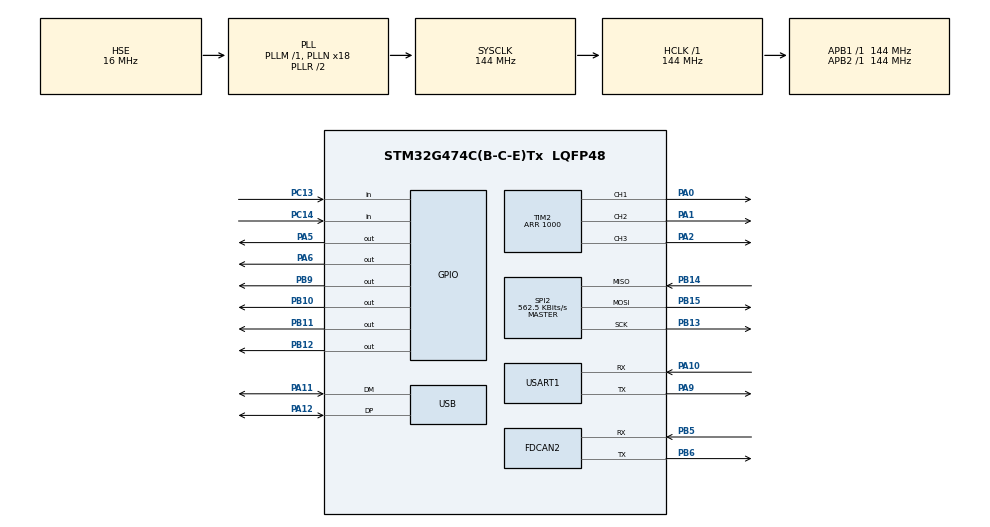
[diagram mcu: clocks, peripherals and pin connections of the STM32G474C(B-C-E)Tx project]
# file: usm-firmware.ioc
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FDCAN2.CalculateBaudRateNominal=1000000
FDCAN2.CalculateTimeBitNominal=1000
FDCAN2.CalculateTimeQuantumNominal=250.0
FDCAN2.Mode=FDCAN_MODE_NORMAL
FDCAN2.NominalPrescaler=12
FDCAN2.NominalTimeSeg1=2
FREERTOS.Tasks01=defaultTask,24,128,StartDefaultTask,Default,NULL,Dynamic,NULL,NULL
FREERTOS.configTOTAL_HEAP_SIZE=32768
Mcu.Family=STM32G4
Mcu.Name=STM32G474C(B-C-E)Tx
Mcu.Package=LQFP48
NVIC.PriorityGroup=NVIC_PRIORITYGROUP_4
NVIC.TIM20_UP_IRQn=true\:15\:0\:false\:false\:true\:false\:false\:true\:true
NVIC.TimeBase=TIM20_UP_IRQn
NVIC.TimeBaseIP=TIM20
NVIC.USB_LP_IRQn=true\:5\:0\:false\:false\:true\:true\:false\:true\:true
PA0.Signal=S_TIM2_CH1
PA1.Signal=S_TIM2_CH2
PA10.Mode=Asynchronous
PA10.Signal=USART1_RX
PA11.Mode=Device
PA11.Signal=USB_DM
PA12.Mode=Device
PA12.Signal=USB_DP
PA13.Mode=Trace_Asynchronous_SW
PA13.Signal=SYS_JTMS-SWDIO
PA14.Mode=Trace_Asynchronous_SW
PA14.Signal=SYS_JTCK-SWCLK
PA2.Signal=S_TIM2_CH3
PA5.Signal=GPIO_Output
PA6.Signal=GPIO_Output
PA9.Mode=Asynchronous
PA9.Signal=USART1_TX
PB10.Signal=GPIO_Output
PB11.Signal=GPIO_Output
PB12.Signal=GPIO_Output
PB13.Mode=Full_Duplex_Master
PB13.Signal=SPI2_SCK
PB14.Mode=Full_Duplex_Master
PB14.Signal=SPI2_MISO
PB15.Mode=Full_Duplex_Master
PB15.Signal=SPI2_MOSI
PB3.Mode=Trace_Asynchronous_SW
PB3.Signal=SYS_JTDO-SWO
PB5.Mode=FDCAN_Activate
PB5.Signal=FDCAN2_RX
PB6.Mode=FDCAN_Activate
PB6.Signal=FDCAN2_TX
PB9.Signal=GPIO_Output
PC13.Signal=GPIO_Input
PC14-OSC32_IN.Signal=GPIO_Input
PF0-OSC_IN.Mode=HSE-External-Oscillator
PF0-OSC_IN.Signal=RCC_OSC_IN
PF1-OSC_OUT.Mode=HSE-External-Oscillator
PF1-OSC_OUT.Signal=RCC_OSC_OUT
ProjectManager.HeapSize=0x200
ProjectManager.StackSize=0x400
ProjectManager.TargetToolchain=Makefile
RCC.ADC12Freq_Value=144000000
RCC.ADC345Freq_Value=144000000
RCC.AHBFreq_Value=144000000
RCC.APB1Freq_Value=144000000
RCC.APB1TimFreq_Value=144000000
RCC.APB2Freq_Value=144000000
RCC.APB2TimFreq_Value=144000000
RCC.CortexFreq_Value=144000000
RCC.EXTERNAL_CLOCK_VALUE=12288000
RCC.FDCANCLockSelection=RCC_FDCANCLKSOURCE_PLL
RCC.HCLKFreq_Value=144000000
RCC.HSE_VALUE=16000000
RCC.HSI48_VALUE=48000000
RCC.HSI_VALUE=16000000
RCC.LSE_VALUE=32768
RCC.PLLN=18
RCC.PLLQ=RCC_PLLQ_DIV6
RCC.SYSCLKFreq_VALUE=144000000
RCC.SYSCLKSource=RCC_SYSCLKSOURCE_PLLCLK
RCC.USBFreq_Value=48000000
RCC.VCOOutputFreq_Value=288000000
SH.S_TIM2_CH1.0=TIM2_CH1,PWM Generation1 CH1
SH.S_TIM2_CH2.0=TIM2_CH2,PWM Generation2 CH2
SH.S_TIM2_CH3.0=TIM2_CH3,PWM Generation3 CH3
SPI2.BaudRatePrescaler=SPI_BAUDRATEPRESCALER_256
SPI2.CalculateBaudRate=562.5 KBits/s
SPI2.DataSize=SPI_DATASIZE_8BIT
SPI2.Direction=SPI_DIRECTION_2LINES
SPI2.Mode=SPI_MODE_MASTER
SPI2.VirtualType=VM_MASTER
TIM2.Channel-PWM\ Generation1\ CH1=TIM_CHANNEL_1
TIM2.Channel-PWM\ Generation2\ CH2=TIM_CHANNEL_2
TIM2.Channel-PWM\ Generation3\ CH3=TIM_CHANNEL_3
TIM2.OCFastMode_PWM-PWM\ Generation1\ CH1=TIM_OCFAST_ENABLE
TIM2.OCFastMode_PWM-PWM\ Generation2\ CH2=TIM_OCFAST_ENABLE
TIM2.OCFastMode_PWM-PWM\ Generation3\ CH3=TIM_OCFAST_ENABLE
TIM2.OCPolarity_1=TIM_OCPOLARITY_LOW
TIM2.OCPolarity_2=TIM_OCPOLARITY_LOW
TIM2.OCPolarity_3=TIM_OCPOLARITY_LOW
TIM2.PeriodNoDither=1000
USART1.VirtualMode-Asynchronous=VM_ASYNC
USB_DEVICE.CLASS_NAME_FS=CDC
USB_DEVICE.VirtualMode=Cdc
USB_DEVICE.VirtualModeFS=Cdc_FS
VP_FREERTOS_VS_CMSIS_V2.Mode=CMSIS_V2
VP_SYS_VS_DBSignals.Mode=DisableDeadBatterySignals
VP_SYS_VS_tim20.Mode=TIM20
VP_USB_DEVICE_VS_USB_DEVICE_CDC_FS.Mode=CDC_FS
board=custom
SPI2.CLKPolarity=SPI_POLARITY_HIGH
SPI2.CLKPhase=SPI_PHASE_2EDGE
FDCAN2.StdFiltersNbr=4
NVIC.FDCAN2_IT0_IRQn=true\:5\:0\:false\:false\:true\:true\:true\:true\:true

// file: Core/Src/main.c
/* USER CODE BEGIN Header */
/**
 ******************************************************************************
 * @file           : main.c
 * @brief          : Main program body
 ******************************************************************************
 * @attention
 *
 * Copyright (c) 2025 STMicroelectronics.
 * All rights reserved.
 *
 * This software is licensed under terms that can be found in the LICENSE file
 * in the root directory of this software component.
 * If no LICENSE file comes with this software, it is provided AS-IS.
 *
 ******************************************************************************
 */
/* USER CODE END Header */
#include "main.h"
#include "cmsis_os.h"
#include "fdcan.h"
#include "gpio.h"
#include "spi.h"
#include "tim.h"
#include "usart.h"
#include "usb_device.h"

/* USER CODE BEGIN Includes */
#include "imu.h"
#include "longhorn/rtos/led.h"
#include "longhorn/rtos/logger.h"
#include "usbd_cdc_if.h"
#include "usm_can.h"
#include "wheel_speed.h"
#include <stdio.h>

/* USER CODE END Includes */

void SystemClock_Config(void);
void MX_FREERTOS_Init(void);

int main(void) {

  /* MCU Configuration--------------------------------------------------------*/

  /* Reset of all peripherals, Initializes the Flash interface and the Systick.
   */
  HAL_Init();

  /* Configure the system clock */
  SystemClock_Config();

  /* Initialize all configured peripherals */
  MX_GPIO_Init();
  MX_FDCAN2_Init();
  MX_SPI2_Init();
  MX_TIM2_Init();
  MX_USART1_UART_Init();

  /* Init scheduler */
  osKernelInitialize(); /* Call init function for freertos objects (in
                           cmsis_os2.c) */
  MX_FREERTOS_Init();

  /* Start scheduler */
  osKernelStart();

  /* We should never get here as control is now taken by the scheduler */

  /* Infinite loop */
  while (1) {

  }
}

void SystemClock_Config(void) {
  RCC_OscInitTypeDef RCC_OscInitStruct = {0};
  RCC_ClkInitTypeDef RCC_ClkInitStruct = {0};

  /** Configure the main internal regulator output voltage
   */
  HAL_PWREx_ControlVoltageScaling(PWR_REGULATOR_VOLTAGE_SCALE1);

  /** Initializes the RCC Oscillators according to the specified parameters
   * in the RCC_OscInitTypeDef structure.
   */
  RCC_OscInitStruct.OscillatorType = RCC_OSCILLATORTYPE_HSE;
  RCC_OscInitStruct.HSEState = RCC_HSE_ON;
  RCC_OscInitStruct.PLL.PLLState = RCC_PLL_ON;
  RCC_OscInitStruct.PLL.PLLSource = RCC_PLLSOURCE_HSE;
  RCC_OscInitStruct.PLL.PLLM = RCC_PLLM_DIV1;
  RCC_OscInitStruct.PLL.PLLN = 18;
  RCC_OscInitStruct.PLL.PLLP = RCC_PLLP_DIV2;
  RCC_OscInitStruct.PLL.PLLQ = RCC_PLLQ_DIV6;
  RCC_OscInitStruct.PLL.PLLR = RCC_PLLR_DIV2;
  if (HAL_RCC_OscConfig(&RCC_OscInitStruct) != HAL_OK) {
    Error_Handler();
  }

  /** Initializes the CPU, AHB and APB buses clocks
   */
  RCC_ClkInitStruct.ClockType = RCC_CLOCKTYPE_HCLK | RCC_CLOCKTYPE_SYSCLK |
                                RCC_CLOCKTYPE_PCLK1 | RCC_CLOCKTYPE_PCLK2;
  RCC_ClkInitStruct.SYSCLKSource = RCC_SYSCLKSOURCE_PLLCLK;
  RCC_ClkInitStruct.AHBCLKDivider = RCC_SYSCLK_DIV1;
  RCC_ClkInitStruct.APB1CLKDivider = RCC_HCLK_DIV1;
  RCC_ClkInitStruct.APB2CLKDivider = RCC_HCLK_DIV1;

  if (HAL_RCC_ClockConfig(&RCC_ClkInitStruct, FLASH_LATENCY_4) != HAL_OK) {
    Error_Handler();
  }
}

void HAL_TIM_PeriodElapsedCallback(TIM_HandleTypeDef *htim) {
  if (htim->Instance == TIM20) {
    HAL_IncTick();
  }
}

void Error_Handler(void) {
  /* USER CODE BEGIN Error_Handler_Debug */
  /* User can add his own implementation to report the HAL error return state
   */
  __disable_irq();
  while (1) {
    // HAL_TIM_PWM_DeInit(&htim2);
    // HAL_GPIO_TogglePin(GPIOA, GPIO_PIN_0);
  }
  /* USER CODE END Error_Handler_Debug */
}
#ifdef USE_FULL_ASSERT
/**
 * @brief  Reports the name of the source file and the source line number
 *         where the assert_param error has occurred.
 * @param  file: pointer to the source file name
 * @param  line: assert_param error line source number
 * @retval None
 */
void assert_failed(uint8_t *file, uint32_t line) {
  /* USER CODE BEGIN 6 */
  /* User can add his own implementation to report the file name and line
     number, ex: printf("Wrong parameters value: file %s on line %d\r\n",
     file, line) */
  /* USER CODE END 6 */
}
#endif /* USE_FULL_ASSERT */

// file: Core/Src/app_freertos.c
/* USER CODE BEGIN Header */
/**
 ******************************************************************************
 * File Name          : app_freertos.c
 * Description        : Code for freertos applications
 ******************************************************************************
 * @attention
 *
 * Copyright (c) 2025 STMicroelectronics.
 * All rights reserved.
 *
 * This software is licensed under terms that can be found in the LICENSE file
 * in the root directory of this software component.
 * If no LICENSE file comes with this software, it is provided AS-IS.
 *
 ******************************************************************************
 */
/* USER CODE END Header */

#include "FreeRTOS.h"
#include "cmsis_os.h"
#include "main.h"
#include "task.h"

#include "usb_device.h"

/* USER CODE BEGIN Includes */
#include "tim.h"
#include "usbd_cdc_if.h"

#include "longhorn/rtos/dfu.h"
#include "longhorn/rtos/led.h"
#include "longhorn/rtos/logger.h"
#include "longhorn/rtos/usb.h"
#include "longhorn/usb_base.h"
#include "ota/ota_flash.h"

#include "imu.h"
#include "spi.h"
#include "usm_can.h"
#include "wheel_speed.h"
#include <math.h>
#include <string.h>

/* USER CODE END Includes */

/* USER CODE BEGIN PD */
/* Alternate speed/IMU and Hall diagnostics: each row appears at 10 Hz. */
#define USM_DEBUG_SLOT_MS 50u

/* USER CODE END PD */

/* USER CODE BEGIN Variables */
extern USBD_HandleTypeDef hUsbDeviceFS;
static dfu_config dfu_conf = {
    .delay_fn = (Delay_fn)osDelay,
    .gpiox = GPIOB,
    .pin = GPIO_PIN_9,
    .pin_set_fn = (PinSet_fn)HAL_GPIO_WritePin,
    .reset_fn = (SystemReset_fn)HAL_NVIC_SystemReset,
    .set_bank1_fn = (SetBank1_fn)ota_set_bank1,
};

static rainbow_led_t led_conf = {
    .ccr2 = &TIM2->CCR1,
    .ccr1 = &TIM2->CCR2,
    .ccr3 = &TIM2->CCR3,
    .channel1 = TIM_CHANNEL_1,
    .channel2 = TIM_CHANNEL_2,
    .channel3 = TIM_CHANNEL_3,
    .pwm_start = (HAL_PWM_Start_Fn)HAL_TIM_PWM_Start,
    .timer_handle = &htim2,
};

osThreadId_t wheelSpeedTaskHandle;
const osThreadAttr_t wheelSpeedTask_attributes = {
    .name = "wheelSpeedTask",
    .priority = (osPriority_t)osPriorityNormal,
    .stack_size = 512 * 8};
/* USER CODE END Variables */
/* Definitions for defaultTask */
osThreadId_t defaultTaskHandle;
const osThreadAttr_t defaultTask_attributes = {
    .name = "defaultTask",
    .priority = (osPriority_t)osPriorityNormal,
    .stack_size = 512 * 4};

/* USER CODE BEGIN FunctionPrototypes */
osThreadId_t ledHandle;

static uint8_t USM_DebugTransmit(uint8_t *data, uint16_t length);
void StartWheelSpeedTask(void *argument);
/* USER CODE END FunctionPrototypes */

void StartDefaultTask(void *argument);

void MX_FREERTOS_Init(void); /* (MISRA C 2004 rule 8.1) */

void MX_FREERTOS_Init(void) {

  /* Create the thread(s) */
  /* creation of defaultTask */
  defaultTaskHandle =
      osThreadNew(StartDefaultTask, NULL, &defaultTask_attributes);

  /* USER CODE BEGIN RTOS_THREADS */
  /* add threads, ... */
  led_init(&led_conf);
  ledHandle = led_start_thread();

  wheelSpeedTaskHandle =
      osThreadNew(StartWheelSpeedTask, NULL, &wheelSpeedTask_attributes);
  /* USER CODE END RTOS_THREADS */

}

void StartDefaultTask(void *argument) {
  /* init code for USB_Device */
  MX_USB_Device_Init();
  /* USER CODE BEGIN StartDefaultTask */
  if (init_logging(USM_DebugTransmit) == -1) {
    osThreadTerminate(ledHandle);
  }

  init_dfu(dfu_conf);
  dfu_start_thread();

  usm_can_init();

  /* Infinite loop */
  for (;;) {
    usm_can_debug();
    osDelay(1000);
  }
  /* USER CODE END StartDefaultTask */
}

/* USER CODE BEGIN Application */
/* USB retains the transmit pointer until completion. Keep a private copy so
 * another queued log cannot overwrite a transfer already in flight. Called
 * only by the logger task; disconnected/busy USB drops logs without waiting. */
static uint8_t USM_DebugTransmit(uint8_t *data, uint16_t length) {
  static uint8_t tx_buffer[256];
  USBD_CDC_HandleTypeDef *cdc = hUsbDeviceFS.pClassData;
  if (hUsbDeviceFS.dev_state != USBD_STATE_CONFIGURED || cdc == NULL)
    return USBD_FAIL;
  if (cdc->TxState != 0u) return USBD_BUSY;
  if (length > sizeof(tx_buffer)) return USBD_FAIL;
  memcpy(tx_buffer, data, length);
  return CDC_Transmit_FS(tx_buffer, length);
}

void StartWheelSpeedTask(void *argument) {
  osDelay(2000); // wait for USB CDC to enumerate
  WheelSpeed_Init(&hspi2);
  int imu_status = IMU_Init(&hspi2);
  imu_data_t imu = {0};
  uint32_t next_tick = osKernelGetTickCount();
  uint32_t last_debug_tick = next_tick;
  const uint32_t debug_ticks =
      (osKernelGetTickFreq() * USM_DEBUG_SLOT_MS + 999u) / 1000u;
  bool hall_debug_row = false;
  for (;;) {
    WheelSpeed_Update();

    float speed = WheelSpeed_GetSpeed();
    usm_can_update_wheel_speed(speed);
    usm_can_update_phase(WheelSpeed_GetPhaseEstimate(), WheelSpeed_GetPhaseSequence());

    int imu_read_status = imu_status == IMU_OK ? IMU_Read(&imu) : imu_status;
    if (imu_read_status == IMU_OK) {
      usm_can_update_accel(imu.accel_x, imu.accel_y, imu.accel_z);
    }

    uint32_t debug_now = osKernelGetTickCount();
    if ((uint32_t)(debug_now - last_debug_tick) >= debug_ticks) {
      last_debug_tick = debug_now;
      const wheel_phase_output_t *phase = WheelSpeed_GetPhaseEstimate();
      /* One bounded queue write per slot, never a burst of USB messages.
       * The logger adds its own timestamp and CRLF. Invalid data prints nan. */
      if (!hall_debug_row) {
        float phase_speed = phase->valid ? phase->speed_rad_s : NAN;
        bool imu_ok = imu_read_status == IMU_OK;
        log_printf(LOG_INFO,
                   "USM ws=%.6g rpm=%.6g valid=%u status=0x%03lx legacy=%.6g "
                   "imu_init=%d imu_read=%d ax=%.6g ay=%.6g az=%.6g",
                   (double)phase_speed, (double)(phase_speed * 9.5492966f),
                   (unsigned)phase->valid, (unsigned long)phase->status,
                   (double)speed, imu_status, imu_read_status,
                   (double)(imu_ok ? imu.accel_x : NAN),
                   (double)(imu_ok ? imu.accel_y : NAN),
                   (double)(imu_ok ? imu.accel_z : NAN));
      } else {
        const wheel_phase_sample_t *sample = WheelSpeed_GetPhaseSample();
        log_printf(LOG_INFO,
                   "HALL init=0x%x fresh=0x%x r0=%.6g r1=%.6g r2=%.6g r3=%.6g "
                   "phase_valid=%u phase=%.6g pair_err=%.6g innov=%.6g q=%.3g",
                   (unsigned)WheelSpeed_GetInitializedMask(),
                   (unsigned)sample->fresh_mask,
                   (double)sample->radial[0], (double)sample->radial[1],
                   (double)sample->radial[2], (double)sample->radial[3],
                   (unsigned)phase->phase_valid,
                   (double)phase->electrical_phase_rad,
                   (double)phase->pair_disagreement_rad,
                   (double)phase->innovation_rad, (double)phase->quality);
      }
      hall_debug_row = !hall_debug_row;
    }
    next_tick += 1u;
    uint32_t now_tick = osKernelGetTickCount();
    if ((int32_t)(next_tick - now_tick) <= 0) next_tick = now_tick + 1u;
    osDelayUntil(next_tick);
  }
}
/* USER CODE END Application */
